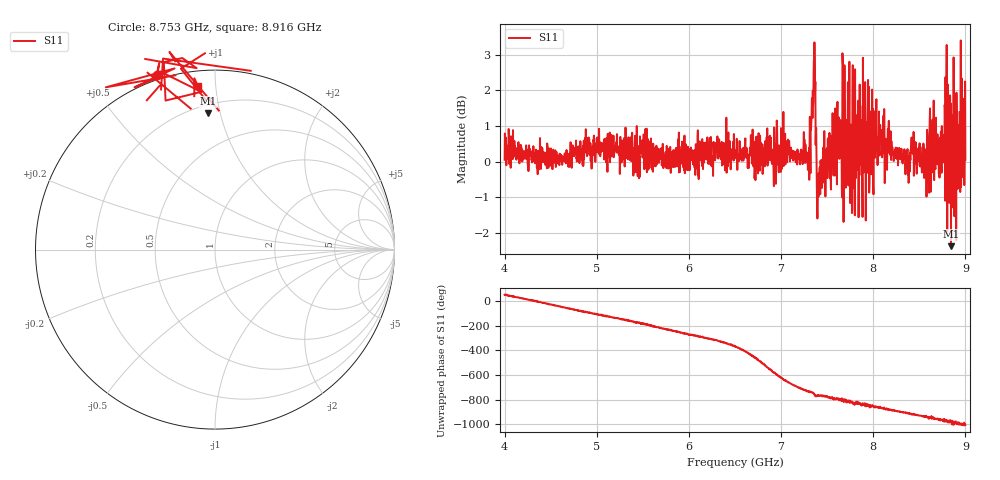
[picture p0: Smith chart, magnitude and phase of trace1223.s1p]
! Created with skrf 1.8.0 (http://scikit-rf.org).
# Hz S RI R 50.0
!freq ReS11 ImS11
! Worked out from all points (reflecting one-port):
!   1601 points, 4 GHz to 9 GHz, reference 50 ohm
!   lowest |S11| = -2.4 dB at 8.844 GHz (marker M1), VSWR 7.35, Z = 12.7 + j45.8 ohm
!   phase of S11 starts at 49 deg and turns -1053 deg over the sweep
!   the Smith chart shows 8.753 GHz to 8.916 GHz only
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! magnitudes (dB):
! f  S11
! 4 GHz  0.0
! 4.625 GHz  -0.1
! 4.894 GHz  0.2
! 5.25 GHz  -0.3
! 5.875 GHz  -0.1
! 6.5 GHz  0.3
! 7.125 GHz  0.3
! 7.294 GHz  0.1
! 7.347 GHz  1.6
! 7.359 GHz  2.2
! 7.4 GHz  -0.7
! 7.412 GHz  -0.5
! 7.484 GHz  0.3
! 7.638 GHz  0.8
! 7.669 GHz  2.8
! 7.75 GHz  -1.2
! 7.769 GHz  -1.4
! 7.828 GHz  1.1
! 7.866 GHz  0.0
! 7.928 GHz  0.7
! 7.981 GHz  -0.4
! 8.097 GHz  0.1
! 8.375 GHz  0.0
! 8.728 GHz  0.4
! 8.794 GHz  2.2
! 8.844 GHz  -2.4
! 8.953 GHz  -0.7
! 9 GHz  0.1
